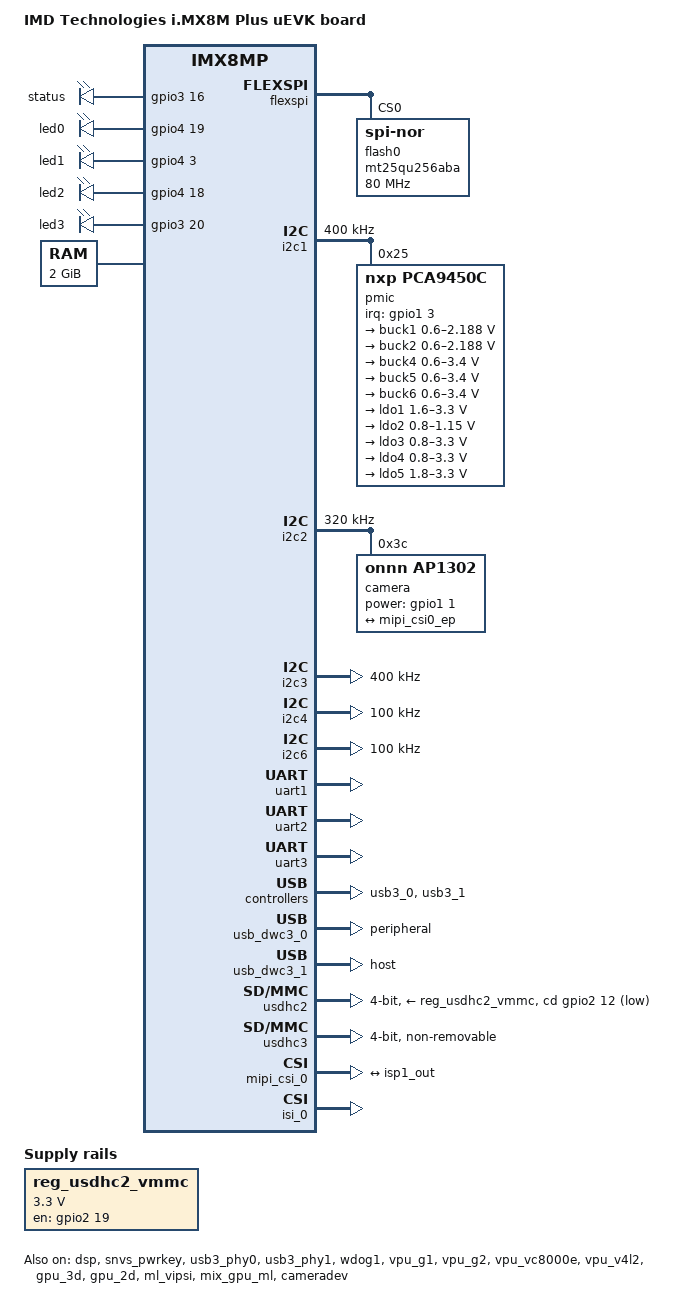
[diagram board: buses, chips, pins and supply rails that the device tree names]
// SPDX-License-Identifier: (GPL-2.0+ OR MIT)
/*
 * Copyright 2019 NXP
 * Copyright (c) 2021 IMD Technologies
 */

/dts-v1/;

#include <dt-bindings/usb/pd.h>
#include "imx8mp.dtsi"

/ {
	model = "IMD Technologies i.MX8M Plus uEVK board";
	compatible = "imdt,imx8mp-imdt-uevk-2g", "fsl,imx8mp";

	chosen {
		stdout-path = &uart2;
	};

	gpio-leds {
		compatible = "gpio-leds";
		pinctrl-names = "default";
		pinctrl-0 = <&pinctrl_gpio_led>;

		status {
			gpios = <&gpio3 16 GPIO_ACTIVE_HIGH>;
			default-state = "on";
		};

		led0 {
			gpios = <&gpio4 19 GPIO_ACTIVE_HIGH>;
			default-state = "off";
		};

		led1 {
			gpios = <&gpio4 3 GPIO_ACTIVE_HIGH>;
			default-state = "off";
		};

		led2 {
			gpios = <&gpio4 18 GPIO_ACTIVE_HIGH>;
			default-state = "off";
		};

		led3 {
			gpios = <&gpio3 20 GPIO_ACTIVE_HIGH>;
			default-state = "off";
		};
	};

	memory@40000000 {
		device_type = "memory";
		reg = <0x0 0x40000000 0 0x80000000>;
	};

	resmem: reserved-memory {
		#address-cells = <2>;
		#size-cells = <2>;
		ranges;

		/* global autoconfigured region for contiguous allocations */
		linux,cma {
			compatible = "shared-dma-pool";
			reusable;
			size = <0 0x20000000>;
			alloc-ranges = <0 0x40000000 0 0x80000000>;
			linux,cma-default;
		};
	};

	reg_usdhc2_vmmc: regulator-usdhc2 {
		compatible = "regulator-fixed";
		pinctrl-names = "default";
		pinctrl-0 = <&pinctrl_reg_usdhc2_vmmc>;
		regulator-name = "VSD_3V3";
		regulator-min-microvolt = <3300000>;
		regulator-max-microvolt = <3300000>;
		gpio = <&gpio2 19 GPIO_ACTIVE_HIGH>;
		enable-active-high;
	};
};

&A53_0 {
	cpu-supply = <&buck2>;
};

&A53_1 {
	cpu-supply = <&buck2>;
};

&A53_2 {
	cpu-supply = <&buck2>;
};

&A53_3 {
	cpu-supply = <&buck2>;
};

&dsp {
	status = "okay";
};

&pwm1 {
	status = "disabled";
};

&pwm2 {
	status = "disabled";
};

&pwm4 {
	status = "disabled";
};

&aud2htx {
	status = "disabled";
};

&ecspi2 {
	#address-cells = <1>;
	#size-cells = <0>;
	fsl,spi-num-chipselects = <1>;
	pinctrl-names = "default";
	pinctrl-0 = <&pinctrl_ecspi2 &pinctrl_ecspi2_cs>;
	cs-gpios = <&gpio5 13 GPIO_ACTIVE_LOW>;
	status = "disabled";
};

&eqos {
	pinctrl-names = "default";
	pinctrl-0 = <&pinctrl_eqos>;
	phy-mode = "rgmii-id";
	phy-handle = <&ethphy0>;
	status = "disabled";

	mdio {
		compatible = "snps,dwmac-mdio";
		#address-cells = <1>;
		#size-cells = <0>;

		ethphy0: ethernet-phy@1 {
			compatible = "ethernet-phy-ieee802.3-c22";
			reg = <1>;
			eee-broken-1000t;
			rtl821x,aldps-disable;
			rtl821x,clkout-disable;
		};
	};
};

&fec {
	pinctrl-names = "default";
	pinctrl-0 = <&pinctrl_fec>;
	phy-mode = "rgmii-id";
	phy-handle = <&ethphy1>;
	fsl,magic-packet;
	status = "disabled";

	mdio {
		#address-cells = <1>;
		#size-cells = <0>;

		ethphy1: ethernet-phy@1 {
			compatible = "ethernet-phy-ieee802.3-c22";
			reg = <1>;
			eee-broken-1000t;
			rtl821x,clkout-disable;
		};
	};
};

&flexspi {
	pinctrl-names = "default";
	pinctrl-0 = <&pinctrl_flexspi0>;
	status = "okay";

	flash0: mt25qu256aba@0 {
		reg = <0>;
		#address-cells = <1>;
		#size-cells = <1>;
		compatible = "jedec,spi-nor";
		spi-max-frequency = <80000000>;
		spi-tx-bus-width = <1>;
		spi-rx-bus-width = <4>;
	};
};

&i2c1 {
	clock-frequency = <400000>;
	pinctrl-names = "default";
	pinctrl-0 = <&pinctrl_i2c1>;
	status = "okay";

	pmic: pca9450@25 {
		reg = <0x25>;
		compatible = "nxp,pca9450c";
		/* PMIC PCA9450 PMIC_nINT GPIO1_IO3 */
		pinctrl-0 = <&pinctrl_pmic>;
		interrupt-parent = <&gpio1>;
		interrupts = <3 GPIO_ACTIVE_LOW>;

		regulators {
			buck1: BUCK1 {
				regulator-name = "BUCK1";
				regulator-min-microvolt = <600000>;
				regulator-max-microvolt = <2187500>;
				regulator-boot-on;
				regulator-always-on;
				regulator-ramp-delay = <3125>;
			};

			buck2: BUCK2 {
				regulator-name = "BUCK2";
				regulator-min-microvolt = <600000>;
				regulator-max-microvolt = <2187500>;
				regulator-boot-on;
				regulator-always-on;
				regulator-ramp-delay = <3125>;
				nxp,dvs-run-voltage = <950000>;
				nxp,dvs-standby-voltage = <850000>;
			};

			buck4: BUCK4{
				regulator-name = "BUCK4";
				regulator-min-microvolt = <600000>;
				regulator-max-microvolt = <3400000>;
				regulator-boot-on;
				regulator-always-on;
			};

			buck5: BUCK5{
				regulator-name = "BUCK5";
				regulator-min-microvolt = <600000>;
				regulator-max-microvolt = <3400000>;
				regulator-boot-on;
				regulator-always-on;
			};

			buck6: BUCK6 {
				regulator-name = "BUCK6";
				regulator-min-microvolt = <600000>;
				regulator-max-microvolt = <3400000>;
				regulator-boot-on;
				regulator-always-on;
			};

			ldo1: LDO1 {
				regulator-name = "LDO1";
				regulator-min-microvolt = <1600000>;
				regulator-max-microvolt = <3300000>;
				regulator-boot-on;
				regulator-always-on;
			};

			ldo2: LDO2 {
				regulator-name = "LDO2";
				regulator-min-microvolt = <800000>;
				regulator-max-microvolt = <1150000>;
				regulator-boot-on;
				regulator-always-on;
			};

			ldo3: LDO3 {
				regulator-name = "LDO3";
				regulator-min-microvolt = <800000>;
				regulator-max-microvolt = <3300000>;
				regulator-boot-on;
				regulator-always-on;
			};

			ldo4: LDO4 {
				regulator-name = "LDO4";
				regulator-min-microvolt = <800000>;
				regulator-max-microvolt = <3300000>;
				regulator-boot-on;
				regulator-always-on;
			};

			ldo5: LDO5 {
				regulator-name = "LDO5";
				regulator-min-microvolt = <1800000>;
				regulator-max-microvolt = <3300000>;
				regulator-boot-on;
				regulator-always-on;
			};
		};
	};
};

&i2c2 {
	clock-frequency = <320000>;
	pinctrl-names = "default";
	pinctrl-0 = <&pinctrl_i2c2>;
	status = "okay";

	camera@3c {
		compatible = "onnn,ap1302";
		reg = <0x3c>;

		pinctrl-names = "default";
		pinctrl-0 = <&pinctrl_csi0_pwn>, <&pinctrl_csi_mclk>;

		clocks = <&clk IMX8MP_CLK_IPP_DO_CLKO2>;
		clock-names = "csi_mclk";
		assigned-clocks = <&clk IMX8MP_CLK_IPP_DO_CLKO2>;
		assigned-clock-parents = <&clk IMX8MP_CLK_24M>;
		assigned-clock-rates = <24000000>;

		power-gpios = <&gpio1 1 GPIO_ACTIVE_HIGH>;

		port {
			isp1_out: endpoint {
				remote-endpoint = <&mipi_csi0_ep>;
				data-lanes = <1 2>;
			};
		};

		sensors {
			#address-cells = <1>;
			#size-cells = <0>;

			onnn,model = "onnn,ar1335";

			sensor@0 {
				reg = <0>;
			};
		};
	};
};

&i2c3 {
	clock-frequency = <400000>;
	pinctrl-names = "default";
	pinctrl-0 = <&pinctrl_i2c3>;
	status = "okay";
};

&i2c4 {
	clock-frequency = <100000>;
	pinctrl-names = "default";
	pinctrl-0 = <&pinctrl_i2c4>;
	status = "okay";
};

&i2c6 {
	clock-frequency = <100000>;
	pinctrl-names = "default";
	pinctrl-0 = <&pinctrl_i2c6>;
	status = "okay";
};

&irqsteer_hdmi {
	status = "disabled";
};

&hdmi_blk_ctrl {
	status = "disabled";
};

&hdmi_pavi {
	status = "disabled";
};

&hdmi {
	status = "disabled";
};

&hdmiphy {
	status = "disabled";
};

&lcdif1 {
	status = "disabled";
};

&lcdif2 {
	status = "disabled";
};

&lcdif3 {
	status = "disabled";
};

&ldb {
	status = "disabled";
};

&ldb_phy {
	status = "disabled";
};

&mipi_dsi {
	status = "disabled";
};

&snvs_pwrkey {
	status = "okay";
};

&easrc {
	status = "disabled";
};

&micfil {
	status = "disabled";
};

&pcie{
	status = "disabled";
};

&pcie_ep{
	status = "disabled";
};

&pcie_phy{
	status = "disabled";
};

&sai2 {
	status = "disabled";
};

&sai3 {
	status = "disabled";
};

&xcvr {
	status = "disabled";
};

&sdma2 {
	status = "okay";
};

&uart1 { /* BT */
	pinctrl-names = "default";
	pinctrl-0 = <&pinctrl_uart1>;
	assigned-clocks = <&clk IMX8MP_CLK_UART1>;
	assigned-clock-parents = <&clk IMX8MP_SYS_PLL1_80M>;
	status = "okay";
};

&uart2 {
	/* console */
	pinctrl-names = "default";
	pinctrl-0 = <&pinctrl_uart2>;
	status = "okay";
};

&uart3 {
	pinctrl-names = "default";
	pinctrl-0 = <&pinctrl_uart3>;
	assigned-clocks = <&clk IMX8MP_CLK_UART3>;
	assigned-clock-parents = <&clk IMX8MP_SYS_PLL1_80M>;
	status = "okay";
};

&usb3_phy0 {
	fsl,phy-tx-vref-tune = <0xe>;
	fsl,phy-tx-preemp-amp-tune = <3>;
	fsl,phy-tx-vboost-level = <5>;
	fsl,phy-comp-dis-tune = <7>;
	fsl,pcs-tx-deemph-3p5db = <0x21>;
	fsl,phy-pcs-tx-swing-full = <0x7f>;
	status = "okay";
};

&usb3_0 {
	status = "okay";
};

&usb_dwc3_0 {
	dr_mode = "peripheral";
	hnp-disable;
	srp-disable;
	adp-disable;
	snps,dis-u1-entry-quirk;
	snps,dis-u2-entry-quirk;
	status = "okay";
};

&usb3_phy1 {
	fsl,phy-tx-preemp-amp-tune = <3>;
	fsl,phy-tx-vref-tune = <0xb>;
	status = "okay";
};

&usb3_1 {
	status = "okay";
};

&usb_dwc3_1 {
	pinctrl-names = "default";
	pinctrl-0 = <&pinctrl_usb1_vbus>;
	dr_mode = "host";
	status = "okay";
};

&usdhc2 {
	assigned-clocks = <&clk IMX8MP_CLK_USDHC2>;
	assigned-clock-rates = <400000000>;
	pinctrl-names = "default", "state_100mhz", "state_200mhz";
	pinctrl-0 = <&pinctrl_usdhc2>, <&pinctrl_usdhc2_gpio>;
	pinctrl-1 = <&pinctrl_usdhc2_100mhz>, <&pinctrl_usdhc2_gpio>;
	pinctrl-2 = <&pinctrl_usdhc2_200mhz>, <&pinctrl_usdhc2_gpio>;
	cd-gpios = <&gpio2 12 GPIO_ACTIVE_LOW>;
	vmmc-supply = <&reg_usdhc2_vmmc>;
	bus-width = <4>;
	status = "okay";
};

&usdhc3 {
	assigned-clocks = <&clk IMX8MP_CLK_USDHC3>;
	assigned-clock-rates = <400000000>;
	pinctrl-names = "default", "state_100mhz", "state_200mhz";
	pinctrl-0 = <&pinctrl_usdhc3>;
	pinctrl-1 = <&pinctrl_usdhc3_100mhz>;
	pinctrl-2 = <&pinctrl_usdhc3_200mhz>;
	bus-width = <4>;
	non-removable;
	status = "okay";
};

&wdog1 {
	pinctrl-names = "default";
	pinctrl-0 = <&pinctrl_wdog>;
	fsl,ext-reset-output;
	status = "okay";
};

&iomuxc {
	pinctrl-names = "default";

	pinctrl_ecspi2: ecspi2grp {
		fsl,pins = <
			MX8MP_IOMUXC_ECSPI2_SCLK__ECSPI2_SCLK		0x82
			MX8MP_IOMUXC_ECSPI2_MOSI__ECSPI2_MOSI		0x82
			MX8MP_IOMUXC_ECSPI2_MISO__ECSPI2_MISO		0x82
		>;
	};

	pinctrl_ecspi2_cs: ecspi2cs {
		fsl,pins = <
			MX8MP_IOMUXC_ECSPI2_SS0__GPIO5_IO13		0x40000
		>;
	};

	pinctrl_eqos: eqosgrp {
		fsl,pins = <
			MX8MP_IOMUXC_ENET_MDC__ENET_QOS_MDC		0x3
			MX8MP_IOMUXC_ENET_MDIO__ENET_QOS_MDIO		0x3
			MX8MP_IOMUXC_ENET_RD0__ENET_QOS_RGMII_RD0	0x91
			MX8MP_IOMUXC_ENET_RD1__ENET_QOS_RGMII_RD1	0x91
			MX8MP_IOMUXC_ENET_RD2__ENET_QOS_RGMII_RD2	0x91
			MX8MP_IOMUXC_ENET_RD3__ENET_QOS_RGMII_RD3	0x91
			MX8MP_IOMUXC_ENET_RXC__CCM_ENET_QOS_CLOCK_GENERATE_RX_CLK	0x91
			MX8MP_IOMUXC_ENET_RX_CTL__ENET_QOS_RGMII_RX_CTL	0x91
			MX8MP_IOMUXC_ENET_TD0__ENET_QOS_RGMII_TD0	0x1f
			MX8MP_IOMUXC_ENET_TD1__ENET_QOS_RGMII_TD1	0x1f
			MX8MP_IOMUXC_ENET_TD2__ENET_QOS_RGMII_TD2	0x1f
			MX8MP_IOMUXC_ENET_TD3__ENET_QOS_RGMII_TD3	0x1f
			MX8MP_IOMUXC_ENET_TX_CTL__ENET_QOS_RGMII_TX_CTL	0x1f
			MX8MP_IOMUXC_ENET_TXC__CCM_ENET_QOS_CLOCK_GENERATE_TX_CLK	0x1f
			MX8MP_IOMUXC_SAI2_RXC__GPIO4_IO22		0x19
		>;
	};

	pinctrl_fec: fecgrp {
		fsl,pins = <
			MX8MP_IOMUXC_SAI1_RXD2__ENET1_MDC		0x3
			MX8MP_IOMUXC_SAI1_RXD3__ENET1_MDIO		0x3
			MX8MP_IOMUXC_SAI1_RXD4__ENET1_RGMII_RD0		0x91
			MX8MP_IOMUXC_SAI1_RXD5__ENET1_RGMII_RD1		0x91
			MX8MP_IOMUXC_SAI1_RXD6__ENET1_RGMII_RD2		0x91
			MX8MP_IOMUXC_SAI1_RXD7__ENET1_RGMII_RD3		0x91
			MX8MP_IOMUXC_SAI1_TXC__ENET1_RGMII_RXC		0x91
			MX8MP_IOMUXC_SAI1_TXFS__ENET1_RGMII_RX_CTL	0x91
			MX8MP_IOMUXC_SAI1_TXD0__ENET1_RGMII_TD0		0x1f
			MX8MP_IOMUXC_SAI1_TXD1__ENET1_RGMII_TD1		0x1f
			MX8MP_IOMUXC_SAI1_TXD2__ENET1_RGMII_TD2		0x1f
			MX8MP_IOMUXC_SAI1_TXD3__ENET1_RGMII_TD3		0x1f
			MX8MP_IOMUXC_SAI1_TXD4__ENET1_RGMII_TX_CTL	0x1f
			MX8MP_IOMUXC_SAI1_TXD5__ENET1_RGMII_TXC		0x1f
			MX8MP_IOMUXC_SAI1_RXD0__GPIO4_IO02		0x19
		>;
	};

	pinctrl_flexspi0: flexspi0grp {
		fsl,pins = <
			MX8MP_IOMUXC_NAND_ALE__FLEXSPI_A_SCLK           0x1c2
			MX8MP_IOMUXC_NAND_CE0_B__FLEXSPI_A_SS0_B        0x82
			MX8MP_IOMUXC_NAND_DATA00__FLEXSPI_A_DATA00      0x82
			MX8MP_IOMUXC_NAND_DATA01__FLEXSPI_A_DATA01      0x82
			MX8MP_IOMUXC_NAND_DATA02__FLEXSPI_A_DATA02      0x82
			MX8MP_IOMUXC_NAND_DATA03__FLEXSPI_A_DATA03      0x82
		>;
	};

	pinctrl_gpio_led: gpioledgrp {
		fsl,pins = <
			MX8MP_IOMUXC_NAND_READY_B__GPIO3_IO16	0x19
			MX8MP_IOMUXC_SAI1_TXD7__GPIO4_IO19		0x19
			MX8MP_IOMUXC_SAI1_RXD1__GPIO4_IO03		0x19
			MX8MP_IOMUXC_SAI1_TXD6__GPIO4_IO18		0x19
			MX8MP_IOMUXC_SAI5_RXC__GPIO3_IO20		0x19
		>;
	};

	pinctrl_i2c1: i2c1grp {
		fsl,pins = <
			MX8MP_IOMUXC_I2C1_SCL__I2C1_SCL		0x400001c3
			MX8MP_IOMUXC_I2C1_SDA__I2C1_SDA		0x400001c3
		>;
	};

	pinctrl_i2c2: i2c2grp {
		fsl,pins = <
			MX8MP_IOMUXC_I2C2_SCL__I2C2_SCL		0x400001c3
			MX8MP_IOMUXC_I2C2_SDA__I2C2_SDA		0x400001c3
		>;
	};

	pinctrl_i2c3: i2c3grp {
		fsl,pins = <
			MX8MP_IOMUXC_I2C3_SCL__I2C3_SCL		0x400001c3
			MX8MP_IOMUXC_I2C3_SDA__I2C3_SDA		0x400001c3
		>;
	};

	pinctrl_i2c4: i2c4grp {
		fsl,pins = <
			MX8MP_IOMUXC_I2C4_SCL__I2C4_SCL			0x400001c3
			MX8MP_IOMUXC_I2C4_SDA__I2C4_SDA			0x400001c3
		>;
	};

	pinctrl_i2c6: i2c6grp {
		fsl,pins = <
			MX8MP_IOMUXC_HDMI_CEC__I2C6_SCL			0x400001c3
			MX8MP_IOMUXC_HDMI_HPD__I2C6_SDA			0x400001c3
		>;
	};

	pinctrl_pmic: pmicirq {
		fsl,pins = <
			MX8MP_IOMUXC_GPIO1_IO03__GPIO1_IO03	0x41
		>;
	};

	pinctrl_reg_usdhc2_vmmc: regusdhc2vmmcgrp {
		fsl,pins = <
			MX8MP_IOMUXC_SD2_RESET_B__GPIO2_IO19	0x41
		>;
	};

	pinctrl_uart1: uart1grp {
		fsl,pins = <
			MX8MP_IOMUXC_UART1_RXD__UART1_DCE_RX	0x140
			MX8MP_IOMUXC_UART1_TXD__UART1_DCE_TX	0x140
		>;
	};

	pinctrl_uart2: uart2grp {
		fsl,pins = <
			MX8MP_IOMUXC_UART2_RXD__UART2_DCE_RX	0x49
			MX8MP_IOMUXC_UART2_TXD__UART2_DCE_TX	0x49
		>;
	};

	pinctrl_uart3: uart3grp {
		fsl,pins = <
			MX8MP_IOMUXC_ECSPI1_SCLK__UART3_DCE_RX		0x140
			MX8MP_IOMUXC_ECSPI1_MOSI__UART3_DCE_TX		0x140
		>;
	};

	pinctrl_usb1_vbus: usb1grp {
		fsl,pins = <
			MX8MP_IOMUXC_GPIO1_IO14__USB2_PWR		0x19
		>;
	};

	pinctrl_usdhc2: usdhc2grp {
		fsl,pins = <
			MX8MP_IOMUXC_SD2_CLK__USDHC2_CLK	0x190
			MX8MP_IOMUXC_SD2_CMD__USDHC2_CMD	0x1d0
			MX8MP_IOMUXC_SD2_DATA0__USDHC2_DATA0	0x1d0
			MX8MP_IOMUXC_SD2_DATA1__USDHC2_DATA1	0x1d0
			MX8MP_IOMUXC_SD2_DATA2__USDHC2_DATA2	0x1d0
			MX8MP_IOMUXC_SD2_DATA3__USDHC2_DATA3	0x1d0
			MX8MP_IOMUXC_GPIO1_IO04__USDHC2_VSELECT	0xc1
		>;
	};

	pinctrl_usdhc2_100mhz: usdhc2-100mhzgrp {
		fsl,pins = <
			MX8MP_IOMUXC_SD2_CLK__USDHC2_CLK	0x194
			MX8MP_IOMUXC_SD2_CMD__USDHC2_CMD	0x1d4
			MX8MP_IOMUXC_SD2_DATA0__USDHC2_DATA0	0x1d4
			MX8MP_IOMUXC_SD2_DATA1__USDHC2_DATA1	0x1d4
			MX8MP_IOMUXC_SD2_DATA2__USDHC2_DATA2	0x1d4
			MX8MP_IOMUXC_SD2_DATA3__USDHC2_DATA3	0x1d4
			MX8MP_IOMUXC_GPIO1_IO04__USDHC2_VSELECT 0xc1
		>;
	};

	pinctrl_usdhc2_200mhz: usdhc2-200mhzgrp {
		fsl,pins = <
			MX8MP_IOMUXC_SD2_CLK__USDHC2_CLK	0x196
			MX8MP_IOMUXC_SD2_CMD__USDHC2_CMD	0x1d6
			MX8MP_IOMUXC_SD2_DATA0__USDHC2_DATA0	0x1d6
			MX8MP_IOMUXC_SD2_DATA1__USDHC2_DATA1	0x1d6
			MX8MP_IOMUXC_SD2_DATA2__USDHC2_DATA2	0x1d6
			MX8MP_IOMUXC_SD2_DATA3__USDHC2_DATA3	0x1d6
			MX8MP_IOMUXC_GPIO1_IO04__USDHC2_VSELECT 0xc1
		>;
	};

	pinctrl_usdhc2_gpio: usdhc2gpiogrp {
		fsl,pins = <
			MX8MP_IOMUXC_SD2_CD_B__GPIO2_IO12	0x1c4
		>;
	};

	pinctrl_usdhc3: usdhc3grp {
		fsl,pins = <
			MX8MP_IOMUXC_NAND_WE_B__USDHC3_CLK	0x190
			MX8MP_IOMUXC_NAND_WP_B__USDHC3_CMD	0x1d0
			MX8MP_IOMUXC_NAND_DATA04__USDHC3_DATA0	0x1d0
			MX8MP_IOMUXC_NAND_DATA05__USDHC3_DATA1	0x1d0
			MX8MP_IOMUXC_NAND_DATA06__USDHC3_DATA2	0x1d0
			MX8MP_IOMUXC_NAND_DATA07__USDHC3_DATA3	0x1d0
		>;
	};

	pinctrl_usdhc3_100mhz: usdhc3-100mhzgrp {
		fsl,pins = <
			MX8MP_IOMUXC_NAND_WE_B__USDHC3_CLK	0x194
			MX8MP_IOMUXC_NAND_WP_B__USDHC3_CMD	0x1d4
			MX8MP_IOMUXC_NAND_DATA04__USDHC3_DATA0	0x1d4
			MX8MP_IOMUXC_NAND_DATA05__USDHC3_DATA1	0x1d4
			MX8MP_IOMUXC_NAND_DATA06__USDHC3_DATA2	0x1d4
			MX8MP_IOMUXC_NAND_DATA07__USDHC3_DATA3	0x1d4
		>;
	};

	pinctrl_usdhc3_200mhz: usdhc3-200mhzgrp {
		fsl,pins = <
			MX8MP_IOMUXC_NAND_WE_B__USDHC3_CLK	0x196
			MX8MP_IOMUXC_NAND_WP_B__USDHC3_CMD	0x1d6
			MX8MP_IOMUXC_NAND_DATA04__USDHC3_DATA0	0x1d6
			MX8MP_IOMUXC_NAND_DATA05__USDHC3_DATA1	0x1d6
			MX8MP_IOMUXC_NAND_DATA06__USDHC3_DATA2	0x1d6
			MX8MP_IOMUXC_NAND_DATA07__USDHC3_DATA3	0x1d6
		>;
	};

	pinctrl_wdog: wdoggrp {
		fsl,pins = <
			MX8MP_IOMUXC_GPIO1_IO02__WDOG1_WDOG_B	0xc6
		>;
	};

	pinctrl_csi0_pwn: csi0_pwn_grp {
		fsl,pins = <
			MX8MP_IOMUXC_GPIO1_IO01__GPIO1_IO01	0x19
		>;
	};

	pinctrl_csi0_rst: csi0_rst_grp {
		fsl,pins = <
			MX8MP_IOMUXC_GPIO1_IO06__GPIO1_IO06		0x19
		>;
	};

	pinctrl_csi_mclk: csi_mclk_grp {
		fsl,pins = <
			MX8MP_IOMUXC_GPIO1_IO15__CCM_CLKO2	0x59
		>;
	};
};

&vpu_g1 {
	status = "okay";
};

&vpu_g2 {
	status = "okay";
};

&vpu_vc8000e {
	status = "okay";
};

&vpu_v4l2 {
	status = "okay";
};

&gpu_3d {
	status = "okay";
};

&gpu_2d {
	status = "okay";
};

&ml_vipsi {
	status = "okay";
};

&mix_gpu_ml {
	status = "okay";
};

&mipi_csi_0 {
	#address-cells = <1>;
	#size-cells = <0>;
	status = "okay";

	port@0 {
		reg = <0>;
		mipi_csi0_ep: endpoint {
			remote-endpoint = <&isp1_out>;
			data-lanes = <2>;
			csis-hs-settle = <13>;
			csis-clk-settle = <2>;
			csis-wclk;
		};
	};
};

&mipi_csi_1 {
	#address-cells = <1>;
	#size-cells = <0>;
	status = "disabled";
};

&cameradev {
	status = "okay";
};

&isi_0 {
	status = "okay";

	cap_device {
		status = "okay";
	};

	m2m_device {
		status = "okay";
	};
};

&isi_1 {
	status = "disabled";

	cap_device {
		status = "okay";
	};
};
